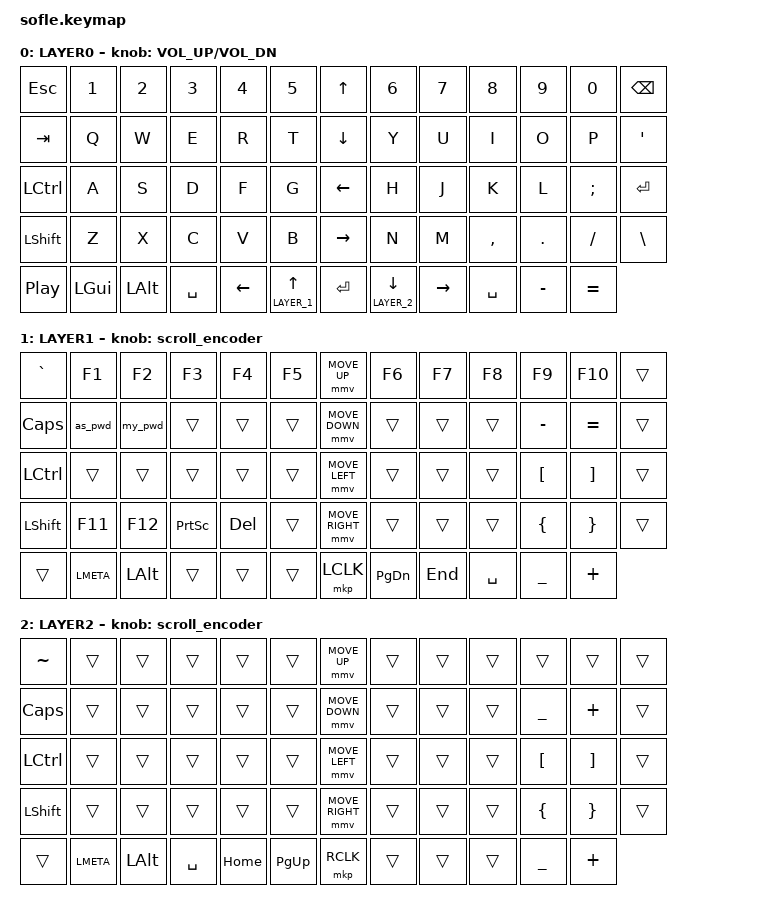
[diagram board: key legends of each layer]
#include <behaviors/mouse_keys.dtsi>
#include <behaviors.dtsi>
#include <dt-bindings/zmk/bt.h>
#include <dt-bindings/zmk/keys.h>
#include <dt-bindings/zmk/mouse.h>
#include <dt-bindings/zmk/outputs.h>
#include <dt-bindings/zmk/rgb.h>

#define ZMK_MOUSE_DEFAULT_MOVE_VAL 1200  // 600
#define ZMK_MOUSE_DEFAULT_SCRL_VAL 20    // 10
#define U_MS_U &mmv MOVE_UP
#define U_MS_D &mmv MOVE_DOWN
#define U_MS_L &mmv MOVE_LEFT
#define U_MS_R &mmv MOVE_RIGHT
#define ZMK_MOUSE_DEFAULT_MOVE_VAL 1200  //  600
#define ZMK_MOUSE_DEFAULT_SCRL_VAL 20    // 10

#define DEFAULT 0
#define LAYER_1  1
#define LAYER_2  2

/ {
    macros {
        as_pwd: as_pwd {
            compatible = "zmk,behavior-macro";
            #binding-cells = <0>;
            bindings
                = <&macro_press &kp LSHFT>
                , <&macro_tap &kp P &kp N2 &kp N4 &kp N4>
                , <&macro_release &kp LSHFT>
                , <&macro_tap &kp W &kp N0 &kp R &kp D>
                , <&macro_press &kp LSHFT>
                , <&macro_tap &kp N2 &kp N0 &kp N2 &kp N4 &kp N1 &kp N2 &kp N0 &kp N9>
                , <&macro_release &kp LSHFT>
                ;
        };
        my_pwd: my_pwd {
            compatible = "zmk,behavior-macro";
            #binding-cells = <0>;
            bindings
                = <&macro_press &kp LSHFT>
                , <&macro_tap &kp P &kp N2 &kp N4 &kp N4>
                , <&macro_release &kp LSHFT>
                , <&macro_tap &kp W &kp N0 &kp R &kp D &kp N3 &kp N1 &kp N4 &kp N1>
                ;
        };
    };
};



/ {
    behaviors {
        mmv {
            acceleration-exponent = <1>;      // 1
            time-to-max-speed-ms = <900>;    // 40
            delay-ms = <0>;                   // 0
        };

        msc {
            acceleration-exponent = <1>;      // 0
            time-to-max-speed-ms = <400>;      // 500
            delay-ms = <0>;                   //   10
        };
    };

    scroll_encoder: scroll_encoder {
        compatible = "zmk,behavior-sensor-rotate";
        #sensor-binding-cells = <0>;
        bindings = <&msc SCRL_DOWN>, <&msc SCRL_UP>;

        tap-ms = <30>;
    };

    keymap {
        compatible = "zmk,keymap";

        layer0 {
            bindings = <
            &kp ESC           &kp N1        &kp N2        &kp N3        &kp N4         &kp N5         &kp UP_ARROW     &kp N6           &kp N7           &kp N8     &kp N9       &kp N0      &kp BACKSPACE
            &kp TAB           &kp Q         &kp W         &kp E         &kp R          &kp T          &kp DOWN_ARROW   &kp Y            &kp U            &kp I      &kp O        &kp P       &kp APOS
            &kp LCTRL         &kp A         &kp S         &kp D         &kp F          &kp G          &kp LEFT_ARROW   &kp H            &kp J            &kp K      &kp L        &kp SEMI    &kp ENTER
            &kp LSHFT         &kp Z         &kp X         &kp C         &kp V          &kp B          &kp RIGHT_ARROW  &kp N            &kp M            &kp COMMA  &kp DOT      &kp FSLH    &kp BSLH
            &kp C_PLAY_PAUSE  &kp LEFT_GUI  &kp LALT      &kp SPACE     &kp LEFT      &lt LAYER_1  UP  &kp ENTER       &lt LAYER_2 DOWN &kp RIGHT  &kp SPACE        &kp MINUS    &kp EQUAL
            >;

            sensor-bindings = <&inc_dec_kp C_VOLUME_UP C_VOL_DN>;
            display-name = "LAYER0";
        };

        layer_1 {
            bindings = <
            &kp GRAVE  &kp F1    &kp F2   &kp F3    &kp F4  &kp F5    &mmv MOVE_UP     &kp F6    &kp F7    &kp F8    &kp F9    &kp F10   &trans   
            &kp CAPS   &as_pwd   &my_pwd  &trans    &trans  &trans    &mmv MOVE_DOWN   &trans    &trans    &trans    &kp MINUS &kp EQUAL &trans   
            &kp LCTRL  &trans    &trans   &trans    &trans  &trans    &mmv MOVE_LEFT   &trans    &trans    &trans    &kp LBKT  &kp RBKT  &trans   
            &kp LSHIFT &kp F11   &kp F12  &kp PSCRN &kp DEL &trans    &mmv MOVE_RIGHT  &trans    &trans    &trans    &kp LBRC  &kp RBRC  &trans   
            &trans     &kp LMETA &kp LALT &trans    &trans  &trans   &mkp LCLK         &kp PG_DN &kp END   &kp SPACE &kp UNDER &kp PLUS  
            >;

            display-name = "LAYER1";
            sensor-bindings = <&scroll_encoder>;
        };

        layer_2 {
            bindings = <
            &kp TILDE  &trans    &trans   &trans   &trans    &trans    &mmv MOVE_UP     &trans    &trans    &trans  &trans    &trans   &trans         
            &kp CAPS   &trans    &trans   &trans   &trans    &trans    &mmv MOVE_DOWN   &trans    &trans    &trans  &kp UNDER &kp PLUS &trans         
            &kp LCTRL  &trans    &trans   &trans   &trans    &trans    &mmv MOVE_LEFT   &trans    &trans    &trans  &kp LBKT  &kp RBKT &trans         
            &kp LSHIFT &trans    &trans   &trans   &trans    &trans    &mmv MOVE_RIGHT  &trans    &trans    &trans  &kp LBRC  &kp RBRC &trans         
            &trans     &kp LMETA &kp LALT &kp SPACE &kp HOME &kp PG_UP &mkp RCLK        &trans    &trans    &trans &kp UNDER &kp PLUS 
            >;

            display-name = "LAYER2";
            sensor-bindings = <&scroll_encoder>;
        };
    };
};
